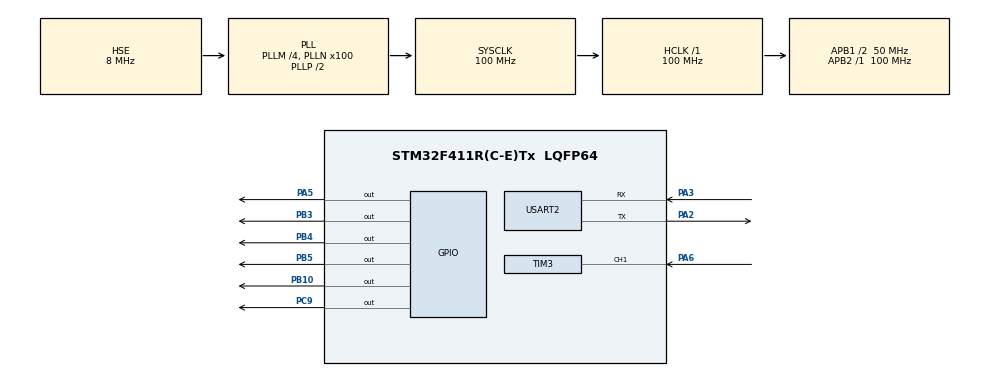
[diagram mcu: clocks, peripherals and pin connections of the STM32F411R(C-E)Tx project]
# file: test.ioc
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Mcu.Family=STM32F4
Mcu.Name=STM32F411R(C-E)Tx
Mcu.Package=LQFP64
NVIC.PriorityGroup=NVIC_PRIORITYGROUP_4
NVIC.TIM3_IRQn=true\:0\:0\:false\:false\:true\:true\:true\:true
NVIC.USART2_IRQn=true\:0\:0\:false\:false\:true\:true\:true\:true
PA13.Mode=Serial_Wire
PA13.Signal=SYS_JTMS-SWDIO
PA14.Mode=Serial_Wire
PA14.Signal=SYS_JTCK-SWCLK
PA2.Mode=Asynchronous
PA2.Signal=USART2_TX
PA3.Mode=Asynchronous
PA3.Signal=USART2_RX
PA5.GPIO_Speed=GPIO_SPEED_FREQ_VERY_HIGH
PA5.Signal=GPIO_Output
PA6.Signal=S_TIM3_CH1
PB10.Signal=GPIO_Output
PB3.Signal=GPIO_Output
PB4.Signal=GPIO_Output
PB5.Signal=GPIO_Output
PC9.GPIO_Speed=GPIO_SPEED_FREQ_VERY_HIGH
PC9.Signal=GPIO_Output
PH0\ -\ OSC_IN.Mode=HSE-External-Oscillator
PH0\ -\ OSC_IN.Signal=RCC_OSC_IN
PH1\ -\ OSC_OUT.Mode=HSE-External-Oscillator
PH1\ -\ OSC_OUT.Signal=RCC_OSC_OUT
ProjectManager.HeapSize=0x200
ProjectManager.StackSize=0x400
ProjectManager.TargetToolchain=STM32CubeIDE
RCC.48MHZClocksFreq_Value=50000000
RCC.AHBFreq_Value=100000000
RCC.APB1CLKDivider=RCC_HCLK_DIV2
RCC.APB1Freq_Value=50000000
RCC.APB1TimFreq_Value=100000000
RCC.APB2Freq_Value=100000000
RCC.APB2TimFreq_Value=100000000
RCC.CortexFreq_Value=100000000
RCC.HCLKFreq_Value=100000000
RCC.HSE_VALUE=8000000
RCC.HSI_VALUE=16000000
RCC.LSE_VALUE=32768
RCC.PLLM=4
RCC.PLLN=100
RCC.PLLSourceVirtual=RCC_PLLSOURCE_HSE
RCC.SYSCLKFreq_VALUE=100000000
RCC.SYSCLKSource=RCC_SYSCLKSOURCE_PLLCLK
RCC.VCOOutputFreq_Value=200000000
SH.S_TIM3_CH1.0=TIM3_CH1,Input_Capture1_from_TI1
TIM3.Channel-Input_Capture1_from_TI1=TIM_CHANNEL_1
TIM3.Prescaler=100-1
USART2.VirtualMode=VM_ASYNC
VP_TIM11_VS_ClockSourceINT.Mode=Enable_Timer
VP_TIM3_VS_ClockSourceINT.Mode=Internal
board=custom

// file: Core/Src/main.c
/* USER CODE BEGIN Header */
/**
  ******************************************************************************
  * @file           : main.c
  * @brief          : Main program body
  ******************************************************************************
  * @attention
  *
  * Copyright (c) 2025 STMicroelectronics.
  * All rights reserved.
  *
  * This software is licensed under terms that can be found in the LICENSE file
  * in the root directory of this software component.
  * If no LICENSE file comes with this software, it is provided AS-IS.
  *
  ******************************************************************************
  */
/* USER CODE END Header */
#include "main.h"
#include "tim.h"
#include "usart.h"
#include "gpio.h"

/* USER CODE BEGIN Includes */
#include "delay_us.h"
#include "stdio.h"
/* USER CODE END Includes */

/* USER CODE BEGIN PD */
#define TRIG_PORT	GPIOA
#define TRIG_PIN	GPIO_PIN_5
/* USER CODE END PD */

/* USER CODE BEGIN PM */

#ifdef __GNUC__
/* With GCC small printf (option LD Linker->Libraries->Small printf
 * set to 'Yes') calls __io_putchar() */
#define PUTCHAR_PROTOTYPE int  __io_putchar(int ch)
#else
#define PUTCHAR_PROTOTYPE int  fputc(int ch, FILE *f)
#endif /* __GNUC__*/

/** @brief Retargets the C library printf function to the USART.
 *  @param None
 *  @retval None
 */
PUTCHAR_PROTOTYPE
{
  /* Place your implementation of fputc here */
  /* e.g. write a character to the USART2 and Loop
     until the end of transmission */
  if(ch == '\n')
    HAL_UART_Transmit(&huart2, (uint8_t*) "\r", 1, 0xFFFF);
    HAL_UART_Transmit(&huart2, (uint8_t*) &ch, 1, 0xFFFF);
}

/* USER CODE END PM */

/* USER CODE BEGIN PV */
uint16_t IC_Value1 = 0;
uint16_t IC_Value2 = 0;
uint16_t echoTime = 0;
uint8_t captureFlag = 0;
uint8_t distance = 0;
/* USER CODE END PV */

void SystemClock_Config(void);
/* USER CODE BEGIN PFP */

void HCSR04_TRIG(void)
{
  // 1. Deadlock 방지를 위해 Flag와 타이머 극성을 강제로 초기화
  captureFlag = 0;
  __HAL_TIM_SET_CAPTUREPOLARITY(&htim3, TIM_CHANNEL_1, TIM_INPUTCHANNELPOLARITY_RISING);

  // 2. Trigger 핀을 제어하여 초음파 발사
  HAL_GPIO_WritePin(TRIG_PORT, TRIG_PIN, GPIO_PIN_RESET);
  delay_us(2);
  HAL_GPIO_WritePin(TRIG_PORT, TRIG_PIN, GPIO_PIN_SET);
  delay_us(10);
  HAL_GPIO_WritePin(TRIG_PORT, TRIG_PIN, GPIO_PIN_RESET);

  // 3. Input Capture 인터럽트 활성화
  __HAL_TIM_ENABLE_IT(&htim3, TIM_IT_CC1);
}

void HAL_TIM_IC_CaptureCallback(TIM_HandleTypeDef *htim)
{
  if(htim->Channel == HAL_TIM_ACTIVE_CHANNEL_1)
  {
    if(captureFlag == 0)  // 아직 캡처를 안했다면
    {
      IC_Value1 = HAL_TIM_ReadCapturedValue(&htim3, TIM_CHANNEL_1);
      captureFlag = 1;    // 캡처 했음 !!!
      // 캡처에 대한 극성을 라이징에서 폴링으로 바꿈
      __HAL_TIM_SET_CAPTUREPOLARITY(&htim3, TIM_CHANNEL_1, TIM_INPUTCHANNELPOLARITY_FALLING);
    }
    else if(captureFlag == 1) // 캡처를 했다면
    {
      IC_Value2 = HAL_TIM_ReadCapturedValue(&htim3, TIM_CHANNEL_1);
      __HAL_TIM_SET_COUNTER(&htim3, 0);

      if(IC_Value2 > IC_Value1)
      {
        echoTime = IC_Value2 - IC_Value1;
      }
      else if(IC_Value1 > IC_Value2)
      {
        echoTime = (0xffff - IC_Value1) + IC_Value2;
      }
      distance = echoTime / 58;
      captureFlag = 0;
      __HAL_TIM_SET_CAPTUREPOLARITY(&htim3, TIM_CHANNEL_1, TIM_INPUTCHANNELPOLARITY_RISING);
      __HAL_TIM_DISABLE_IT(&htim3, TIM_IT_CC1);
    }
  }
}

/* USER CODE END PFP */

int main(void)
{

  /* MCU Configuration--------------------------------------------------------*/

  /* Reset of all peripherals, Initializes the Flash interface and the Systick. */
  HAL_Init();

  /* Configure the system clock */
  SystemClock_Config();

  /* Initialize all configured peripherals */
  MX_GPIO_Init();
  MX_USART2_UART_Init();
  MX_TIM11_Init();
  MX_TIM3_Init();
  /* USER CODE BEGIN 2 */
  HAL_TIM_Base_Start(&htim11);		//us timer
  HAL_TIM_IC_Start_IT(&htim3, TIM_CHANNEL_1);	// for ultrasonic timer
  HAL_GPIO_WritePin(GPIOB, GPIO_PIN_10, 0);  HAL_GPIO_WritePin(GPIOB, GPIO_PIN_4, 0);  HAL_GPIO_WritePin(GPIOB, GPIO_PIN_5, 0);  HAL_GPIO_WritePin(GPIOB, GPIO_PIN_3, 0);HAL_GPIO_WritePin(GPIOB, GPIO_PIN_10, 0);  HAL_GPIO_WritePin(GPIOB, GPIO_PIN_4, 0);  HAL_GPIO_WritePin(GPIOB, GPIO_PIN_5, 0);  HAL_GPIO_WritePin(GPIOB, GPIO_PIN_3, 0);
  /* USER CODE END 2 */

  /* Infinite loop */
  /* USER CODE BEGIN WHILE */
  while (1)
  {
	  HCSR04_TRIG();
	    printf(" %d cm\r\n",distance);
	    HAL_Delay(500);
    /* USER CODE END WHILE */

  }
}

void SystemClock_Config(void)
{
  RCC_OscInitTypeDef RCC_OscInitStruct = {0};
  RCC_ClkInitTypeDef RCC_ClkInitStruct = {0};

  /** Configure the main internal regulator output voltage
  */
  __HAL_RCC_PWR_CLK_ENABLE();
  __HAL_PWR_VOLTAGESCALING_CONFIG(PWR_REGULATOR_VOLTAGE_SCALE1);

  /** Initializes the RCC Oscillators according to the specified parameters
  * in the RCC_OscInitTypeDef structure.
  */
  RCC_OscInitStruct.OscillatorType = RCC_OSCILLATORTYPE_HSE;
  RCC_OscInitStruct.HSEState = RCC_HSE_ON;
  RCC_OscInitStruct.PLL.PLLState = RCC_PLL_ON;
  RCC_OscInitStruct.PLL.PLLSource = RCC_PLLSOURCE_HSE;
  RCC_OscInitStruct.PLL.PLLM = 4;
  RCC_OscInitStruct.PLL.PLLN = 100;
  RCC_OscInitStruct.PLL.PLLP = RCC_PLLP_DIV2;
  RCC_OscInitStruct.PLL.PLLQ = 4;
  if (HAL_RCC_OscConfig(&RCC_OscInitStruct) != HAL_OK)
  {
    Error_Handler();
  }

  /** Initializes the CPU, AHB and APB buses clocks
  */
  RCC_ClkInitStruct.ClockType = RCC_CLOCKTYPE_HCLK|RCC_CLOCKTYPE_SYSCLK
                              |RCC_CLOCKTYPE_PCLK1|RCC_CLOCKTYPE_PCLK2;
  RCC_ClkInitStruct.SYSCLKSource = RCC_SYSCLKSOURCE_PLLCLK;
  RCC_ClkInitStruct.AHBCLKDivider = RCC_SYSCLK_DIV1;
  RCC_ClkInitStruct.APB1CLKDivider = RCC_HCLK_DIV2;
  RCC_ClkInitStruct.APB2CLKDivider = RCC_HCLK_DIV1;

  if (HAL_RCC_ClockConfig(&RCC_ClkInitStruct, FLASH_LATENCY_3) != HAL_OK)
  {
    Error_Handler();
  }
}

void Error_Handler(void)
{
  __disable_irq();
  while (1)
  {
  }
}
